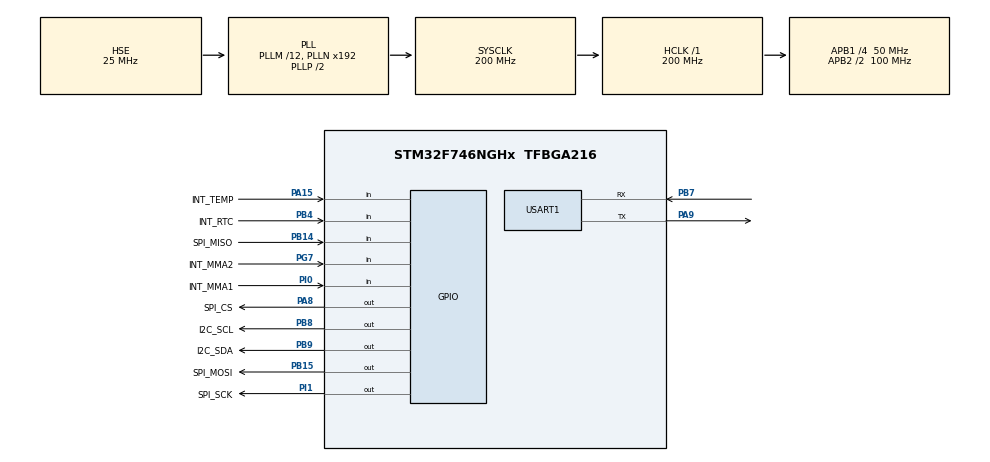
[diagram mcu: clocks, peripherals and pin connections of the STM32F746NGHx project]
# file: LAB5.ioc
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Mcu.Family=STM32F7
Mcu.Name=STM32F746NGHx
Mcu.Package=TFBGA216
NVIC.PriorityGroup=NVIC_PRIORITYGROUP_4
NVIC.TIM1_UP_TIM10_IRQn=true\:15\:0\:false\:false\:true\:false\:true
NVIC.TimeBase=TIM1_UP_TIM10_IRQn
NVIC.TimeBaseIP=TIM1
PA15.GPIO_Label=INT_TEMP
PA15.Signal=GPIO_Input
PA8.GPIO_Label=SPI_CS
PA8.Signal=GPIO_Output
PA9.Mode=Asynchronous
PA9.Signal=USART1_TX
PB14.GPIO_Label=SPI_MISO
PB14.Signal=GPIO_Input
PB15.GPIO_Label=SPI_MOSI
PB15.Signal=GPIO_Output
PB4.GPIO_Label=INT_RTC
PB4.Signal=GPIO_Input
PB7.Mode=Asynchronous
PB7.Signal=USART1_RX
PB8.GPIO_Label=I2C_SCL
PB8.GPIO_ModeDefaultOutputPP=GPIO_MODE_OUTPUT_OD
PB8.GPIO_PuPd=GPIO_PULLUP
PB8.Signal=GPIO_Output
PB9.GPIO_Label=I2C_SDA
PB9.GPIO_ModeDefaultOutputPP=GPIO_MODE_OUTPUT_OD
PB9.GPIO_PuPd=GPIO_PULLUP
PB9.Signal=GPIO_Output
PC14/OSC32_IN.Mode=LSE-External-Oscillator
PC14/OSC32_IN.Signal=RCC_OSC32_IN
PC15/OSC32_OUT.Mode=LSE-External-Oscillator
PC15/OSC32_OUT.Signal=RCC_OSC32_OUT
PG7.GPIO_Label=INT_MMA2
PG7.Signal=GPIO_Input
PH0/OSC_IN.Mode=HSE-External-Oscillator
PH0/OSC_IN.Signal=RCC_OSC_IN
PH1/OSC_OUT.Mode=HSE-External-Oscillator
PH1/OSC_OUT.Signal=RCC_OSC_OUT
PI0.GPIO_Label=INT_MMA1
PI0.Signal=GPIO_Input
PI1.GPIO_Label=SPI_SCK
PI1.Signal=GPIO_Output
ProjectManager.HeapSize=0x200
ProjectManager.StackSize=0x400
ProjectManager.TargetToolchain=STM32CubeIDE
RCC.AHBFreq_Value=200000000
RCC.APB1CLKDivider=RCC_HCLK_DIV4
RCC.APB1Freq_Value=50000000
RCC.APB1TimFreq_Value=100000000
RCC.APB2CLKDivider=RCC_HCLK_DIV2
RCC.APB2Freq_Value=100000000
RCC.APB2TimFreq_Value=200000000
RCC.CortexFreq_Value=200000000
RCC.HCLKFreq_Value=200000000
RCC.HSE_VALUE=25000000
RCC.HSI_VALUE=16000000
RCC.PLLM=12
RCC.PLLSourceVirtual=RCC_PLLSOURCE_HSE
RCC.SYSCLKFreq_VALUE=200000000
RCC.SYSCLKSource=RCC_SYSCLKSOURCE_PLLCLK
RCC.USBFreq_Value=200000000
RCC.VCOOutputFreq_Value=400000000
USART1.VirtualMode-Asynchronous=VM_ASYNC
VP_SYS_VS_tim1.Mode=TIM1
board=STM32F746G-DISCO

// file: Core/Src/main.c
/* USER CODE BEGIN Header */
/**
 ******************************************************************************
 * @file           : main.c
 * @brief          : Main program body
 ******************************************************************************
 * @attention
 *
 * <h2><center>&copy; Copyright (c) 2023 STMicroelectronics.
 * All rights reserved.</center></h2>
 *
 * This software component is licensed by ST under BSD 3-Clause license,
 * the "License"; You may not use this file except in compliance with the
 * License. You may obtain a copy of the License at:
 *                        opensource.org/licenses/BSD-3-Clause
 *
 ******************************************************************************
 */
/* USER CODE END Header */
#include "main.h"

UART_HandleTypeDef huart1;

void SystemClock_Config(void);
static void MX_GPIO_Init(void);
static void MX_USART1_UART_Init(void);

/* USER CODE BEGIN 0 */
void initI2C(void);
//I2C_start zal de start conditie op de bus plaatsen en kan ook gebruikt worden voor een "repeated start".
//Een start bit is als men de data lijn laag maakt als de kloklijn hoog is.
void I2C_start(void);

//I2C_stop zal de stop conditie op de bus plaatsen.
//Een stop bit is als men de data lijn hoog maakt als de kloklijn hoog is.
void I2C_stop(void);

//I2C_write zal 1 byte op de I2C bus plaatsen. Deze functie kan ook gebruikt worden om een slaveadres op de bus te plaatsen.
//De functie zal ook de ack binnen lezen en teruggeven (bij geldige ack op de bus geeft deze functie 0 terug)
uint8_t I2C_write(uint8_t data);

//I2C_read zal 1 byte van de I2C bus lezen en al dan niet een ack of een nack terug sturen
//afhankelijk van het argument dat je meegeeft. (ack is 0, nack is 1)
uint8_t I2C_read(uint8_t ack);

//I2C_readMem zal eerst de slave adreseren dan het register adres op de bus schrijven en na een repeated start
//het register lezen. De functie returned het aantal gelezen bytes.
uint8_t I2C_readMem(uint8_t slaveAdres, uint8_t memAdres, uint8_t * buffer, uint8_t byteCount);

uint32_t delay1us = 10000; //20
void SysTickDelayCount(uint32_t);
uint8_t reverse(uint8_t);

#include <stdio.h>

#include <errno.h>
#include <sys/stat.h>
#include <sys/times.h>
#include <sys/unistd.h>
int _write(int file, char *ptr, int len) {
	HAL_StatusTypeDef xStatus;
	switch (file) {
	case STDOUT_FILENO: /*stdout*/
		xStatus = HAL_UART_Transmit(&huart1, (uint8_t*)ptr, len, HAL_MAX_DELAY);
		if (xStatus != HAL_OK) {
			errno = EIO;
			return -1;
		}
		break;
	case STDERR_FILENO: /* stderr */
		xStatus = HAL_UART_Transmit(&huart1, (uint8_t*)ptr, len, HAL_MAX_DELAY);
		if (xStatus != HAL_OK) {
			errno = EIO;
			return -1;
		}
		break;
	default:
		errno = EBADF;
		return -1;
	}
	return len;
}

/* USER CODE END 0 */

int main(void)
{

	/* MCU Configuration--------------------------------------------------------*/

	/* Reset of all peripherals, Initializes the Flash interface and the Systick. */
	HAL_Init();

	/* Configure the system clock */
	SystemClock_Config();

	/* Initialize all configured peripherals */
	MX_GPIO_Init();
	MX_USART1_UART_Init();
	/* USER CODE BEGIN 2 */

	uint8_t	slaveAdres = 0b00111010;

	uint8_t	whoAmI = 0x0D;
	uint8_t OUT_X_MSB = 0x01;
	uint8_t OUT_X_LSB = 0x02;
	uint8_t OUT_Y_MSB = 0x03;
	uint8_t OUT_Y_LSB = 0x04;
	uint8_t OUT_Z_MSB = 0x05;
	uint8_t OUT_Z_LSB = 0x06;

	uint8_t	byteCount = 4;
	uint8_t *buffer;

	uint8_t input = 0x00;
	uint16_t accelX = 0x0000;
	uint16_t accelY = 0x0000;
	uint16_t accelZ = 0x0000;

	initI2C();

	/* USER CODE END 2 */

	/* Infinite loop */
	while (1)
	{

		/* USER CODE BEGIN 3 */

		//input = I2C_readMem(slaveAdres, whoAmI, buffer, byteCount);

		//printf("%d\n\r", input);

		//HAL_Delay(1);

		input = I2C_readMem(slaveAdres, OUT_X_MSB, buffer, byteCount);
		accelX = input;
		accelX = (accelX << 2);
		input = I2C_readMem(slaveAdres, OUT_X_LSB, buffer, byteCount);
		input &= 0b11000000;
		input = (input >> 6);
		accelX |= input;
		printf("X = %d\n\r", accelX);

		input = I2C_readMem(slaveAdres, OUT_Y_MSB, buffer, byteCount);
		accelY = input;
		accelY = (accelY << 2);
		input = I2C_readMem(slaveAdres, OUT_Y_LSB, buffer, byteCount);
		input &= 0b11000000;
		input = (input >> 6);
		accelY |= input;
		printf("Y = %d\n\r", accelY);

		input = I2C_readMem(slaveAdres, OUT_Z_MSB, buffer, byteCount);
		accelZ = input;
		accelZ = (accelZ << 2);
		input = I2C_readMem(slaveAdres, OUT_Z_LSB, buffer, byteCount);
		input &= 0b11000000;
		input = (input >> 6);
		accelZ |= input;
		printf("Z = %d\n\n\r", accelZ);

		printf("----------------------------------------\n\r");

		HAL_Delay(1);

	}
	/* USER CODE END 3 */
}

void SystemClock_Config(void)
{
	RCC_OscInitTypeDef RCC_OscInitStruct = {0};
	RCC_ClkInitTypeDef RCC_ClkInitStruct = {0};
	RCC_PeriphCLKInitTypeDef PeriphClkInitStruct = {0};

	/** Configure LSE Drive Capability
	 */
	HAL_PWR_EnableBkUpAccess();
	/** Configure the main internal regulator output voltage
	 */
	__HAL_RCC_PWR_CLK_ENABLE();
	__HAL_PWR_VOLTAGESCALING_CONFIG(PWR_REGULATOR_VOLTAGE_SCALE1);
	/** Initializes the RCC Oscillators according to the specified parameters
	 * in the RCC_OscInitTypeDef structure.
	 */
	RCC_OscInitStruct.OscillatorType = RCC_OSCILLATORTYPE_HSE;
	RCC_OscInitStruct.HSEState = RCC_HSE_ON;
	RCC_OscInitStruct.PLL.PLLState = RCC_PLL_ON;
	RCC_OscInitStruct.PLL.PLLSource = RCC_PLLSOURCE_HSE;
	RCC_OscInitStruct.PLL.PLLM = 12;
	RCC_OscInitStruct.PLL.PLLN = 192;
	RCC_OscInitStruct.PLL.PLLP = RCC_PLLP_DIV2;
	RCC_OscInitStruct.PLL.PLLQ = 2;
	if (HAL_RCC_OscConfig(&RCC_OscInitStruct) != HAL_OK)
	{
		Error_Handler();
	}
	/** Activate the Over-Drive mode
	 */
	if (HAL_PWREx_EnableOverDrive() != HAL_OK)
	{
		Error_Handler();
	}
	/** Initializes the CPU, AHB and APB buses clocks
	 */
	RCC_ClkInitStruct.ClockType = RCC_CLOCKTYPE_HCLK|RCC_CLOCKTYPE_SYSCLK
			|RCC_CLOCKTYPE_PCLK1|RCC_CLOCKTYPE_PCLK2;
	RCC_ClkInitStruct.SYSCLKSource = RCC_SYSCLKSOURCE_PLLCLK;
	RCC_ClkInitStruct.AHBCLKDivider = RCC_SYSCLK_DIV1;
	RCC_ClkInitStruct.APB1CLKDivider = RCC_HCLK_DIV4;
	RCC_ClkInitStruct.APB2CLKDivider = RCC_HCLK_DIV2;

	if (HAL_RCC_ClockConfig(&RCC_ClkInitStruct, FLASH_LATENCY_6) != HAL_OK)
	{
		Error_Handler();
	}
	PeriphClkInitStruct.PeriphClockSelection = RCC_PERIPHCLK_USART1;
	PeriphClkInitStruct.Usart1ClockSelection = RCC_USART1CLKSOURCE_PCLK2;
	if (HAL_RCCEx_PeriphCLKConfig(&PeriphClkInitStruct) != HAL_OK)
	{
		Error_Handler();
	}
}

static void MX_USART1_UART_Init(void)
{

	huart1.Instance = USART1;
	huart1.Init.BaudRate = 115200;
	huart1.Init.WordLength = UART_WORDLENGTH_8B;
	huart1.Init.StopBits = UART_STOPBITS_1;
	huart1.Init.Parity = UART_PARITY_NONE;
	huart1.Init.Mode = UART_MODE_TX_RX;
	huart1.Init.HwFlowCtl = UART_HWCONTROL_NONE;
	huart1.Init.OverSampling = UART_OVERSAMPLING_16;
	huart1.Init.OneBitSampling = UART_ONE_BIT_SAMPLE_DISABLE;
	huart1.AdvancedInit.AdvFeatureInit = UART_ADVFEATURE_NO_INIT;
	if (HAL_UART_Init(&huart1) != HAL_OK)
	{
		Error_Handler();
	}

}

static void MX_GPIO_Init(void)
{
	GPIO_InitTypeDef GPIO_InitStruct = {0};

	/* GPIO Ports Clock Enable */
	__HAL_RCC_GPIOB_CLK_ENABLE();
	__HAL_RCC_GPIOA_CLK_ENABLE();
	__HAL_RCC_GPIOI_CLK_ENABLE();
	__HAL_RCC_GPIOC_CLK_ENABLE();
	__HAL_RCC_GPIOH_CLK_ENABLE();
	__HAL_RCC_GPIOG_CLK_ENABLE();

	/*Configure GPIO pin Output Level */
	HAL_GPIO_WritePin(GPIOB, I2C_SCL_Pin|I2C_SDA_Pin|SPI_MOSI_Pin, GPIO_PIN_RESET);

	/*Configure GPIO pin Output Level */
	HAL_GPIO_WritePin(SPI_SCK_GPIO_Port, SPI_SCK_Pin, GPIO_PIN_RESET);

	/*Configure GPIO pin Output Level */
	HAL_GPIO_WritePin(SPI_CS_GPIO_Port, SPI_CS_Pin, GPIO_PIN_RESET);

	/*Configure GPIO pins : I2C_SCL_Pin I2C_SDA_Pin */
	GPIO_InitStruct.Pin = I2C_SCL_Pin|I2C_SDA_Pin;
	GPIO_InitStruct.Mode = GPIO_MODE_OUTPUT_OD;
	GPIO_InitStruct.Pull = GPIO_PULLUP;
	GPIO_InitStruct.Speed = GPIO_SPEED_FREQ_LOW;
	HAL_GPIO_Init(GPIOB, &GPIO_InitStruct);

	/*Configure GPIO pins : INT_RTC_Pin SPI_MISO_Pin */
	GPIO_InitStruct.Pin = INT_RTC_Pin|SPI_MISO_Pin;
	GPIO_InitStruct.Mode = GPIO_MODE_INPUT;
	GPIO_InitStruct.Pull = GPIO_NOPULL;
	HAL_GPIO_Init(GPIOB, &GPIO_InitStruct);

	/*Configure GPIO pin : INT_TEMP_Pin */
	GPIO_InitStruct.Pin = INT_TEMP_Pin;
	GPIO_InitStruct.Mode = GPIO_MODE_INPUT;
	GPIO_InitStruct.Pull = GPIO_NOPULL;
	HAL_GPIO_Init(INT_TEMP_GPIO_Port, &GPIO_InitStruct);

	/*Configure GPIO pin : SPI_SCK_Pin */
	GPIO_InitStruct.Pin = SPI_SCK_Pin;
	GPIO_InitStruct.Mode = GPIO_MODE_OUTPUT_PP;
	GPIO_InitStruct.Pull = GPIO_NOPULL;
	GPIO_InitStruct.Speed = GPIO_SPEED_FREQ_LOW;
	HAL_GPIO_Init(SPI_SCK_GPIO_Port, &GPIO_InitStruct);

	/*Configure GPIO pin : INT_MMA1_Pin */
	GPIO_InitStruct.Pin = INT_MMA1_Pin;
	GPIO_InitStruct.Mode = GPIO_MODE_INPUT;
	GPIO_InitStruct.Pull = GPIO_NOPULL;
	HAL_GPIO_Init(INT_MMA1_GPIO_Port, &GPIO_InitStruct);

	/*Configure GPIO pin : SPI_CS_Pin */
	GPIO_InitStruct.Pin = SPI_CS_Pin;
	GPIO_InitStruct.Mode = GPIO_MODE_OUTPUT_PP;
	GPIO_InitStruct.Pull = GPIO_NOPULL;
	GPIO_InitStruct.Speed = GPIO_SPEED_FREQ_LOW;
	HAL_GPIO_Init(SPI_CS_GPIO_Port, &GPIO_InitStruct);

	/*Configure GPIO pin : INT_MMA2_Pin */
	GPIO_InitStruct.Pin = INT_MMA2_Pin;
	GPIO_InitStruct.Mode = GPIO_MODE_INPUT;
	GPIO_InitStruct.Pull = GPIO_NOPULL;
	HAL_GPIO_Init(INT_MMA2_GPIO_Port, &GPIO_InitStruct);

	/*Configure GPIO pin : SPI_MOSI_Pin */
	GPIO_InitStruct.Pin = SPI_MOSI_Pin;
	GPIO_InitStruct.Mode = GPIO_MODE_OUTPUT_PP;
	GPIO_InitStruct.Pull = GPIO_NOPULL;
	GPIO_InitStruct.Speed = GPIO_SPEED_FREQ_LOW;
	HAL_GPIO_Init(SPI_MOSI_GPIO_Port, &GPIO_InitStruct);

}

/* USER CODE BEGIN 4 */
void initI2C(void){
	HAL_GPIO_WritePin(I2C_SDA_GPIO_Port, I2C_SDA_Pin, 1);
	HAL_GPIO_WritePin(I2C_SCL_GPIO_Port, I2C_SCL_Pin, 1);
}

//I2C_start zal de start conditie op de bus plaatsen en kan ook gebruikt worden voor een "repeated start".
//Een start bit is als men de data lijn laag maakt als de kloklijn hoog is.
void I2C_start(void){
	HAL_GPIO_WritePin(I2C_SCL_GPIO_Port, I2C_SCL_Pin, 1);
	HAL_GPIO_WritePin(I2C_SDA_GPIO_Port, I2C_SDA_Pin, 1);

	HAL_GPIO_WritePin(I2C_SDA_GPIO_Port, I2C_SDA_Pin, 0);
	SysTickDelayCount(delay1us);
	HAL_GPIO_WritePin(I2C_SCL_GPIO_Port, I2C_SCL_Pin, 0);
	SysTickDelayCount(delay1us);
}

//I2C_stop zal de stop conditie op de bus plaatsen.
//Een stop bit is als men de data lijn hoog maakt als de kloklijn hoog is.
void I2C_stop(void){
	HAL_GPIO_WritePin(I2C_SDA_GPIO_Port, I2C_SDA_Pin, 0);
	HAL_GPIO_WritePin(I2C_SCL_GPIO_Port, I2C_SCL_Pin, 0);

	HAL_GPIO_WritePin(I2C_SCL_GPIO_Port, I2C_SCL_Pin, 1);
	SysTickDelayCount(delay1us);
	HAL_GPIO_WritePin(I2C_SDA_GPIO_Port, I2C_SDA_Pin, 1);
	SysTickDelayCount(delay1us);
}

//I2C_write zal 1 byte op de I2C bus plaatsen. Deze functie kan ook gebruikt worden om een slaveadres op de bus te plaatsen.
//De functie zal ook de ack binnen lezen en teruggeven (bij geldige ack op de bus geeft deze functie 0 terug)
uint8_t I2C_write(uint8_t data){
	uint8_t shift = 0x00;
	uint8_t mask = 0b00000001;
	uint8_t result = 0x00;
	uint8_t ack = 0x00;

	//send input
	shift = reverse(data);
	for(uint8_t index = 0; index < 8; index++){
		result = shift & mask;
		if(result == 0x01){
			HAL_GPIO_WritePin(I2C_SDA_GPIO_Port, I2C_SDA_Pin, 1);
		}
		else{
			HAL_GPIO_WritePin(I2C_SDA_GPIO_Port, I2C_SDA_Pin, 0);
		}

		HAL_GPIO_WritePin(I2C_SCL_GPIO_Port, I2C_SCL_Pin, 1);
		SysTickDelayCount(delay1us);
		HAL_GPIO_WritePin(I2C_SCL_GPIO_Port, I2C_SCL_Pin, 0);
		SysTickDelayCount(delay1us);

		shift = (shift >> 1);	//shift right by one
	}
	//ACK
	HAL_GPIO_WritePin(I2C_SDA_GPIO_Port, I2C_SDA_Pin, 1);

	HAL_GPIO_WritePin(I2C_SCL_GPIO_Port, I2C_SCL_Pin, 1);
	SysTickDelayCount(delay1us);

	ack = HAL_GPIO_ReadPin(I2C_SDA_GPIO_Port, I2C_SDA_Pin);

	HAL_GPIO_WritePin(I2C_SCL_GPIO_Port, I2C_SCL_Pin, 0);
	SysTickDelayCount(delay1us);

	return ack;
}

//I2C_read zal 1 byte van de I2C bus lezen en al dan niet een ack of een nack terug sturen
//afhankelijk van het argument dat je meegeeft. (ack is 0, nack is 1)
uint8_t I2C_read(uint8_t ack){
	uint8_t input = 0x00;

	for(uint8_t index = 0; index < 8; index++){
		//clk high
		HAL_GPIO_WritePin(I2C_SCL_GPIO_Port, I2C_SCL_Pin, 1);
		SysTickDelayCount(delay1us);

		//1 on SDA?
		if(HAL_GPIO_ReadPin(I2C_SDA_GPIO_Port, I2C_SDA_Pin)){
			//1
			input |= 0b00000001;
		}
		else{
			//0
			input &= 0b11111110;
		}
		//shift input reg
		input = (input << 1);

		//clk low
		HAL_GPIO_WritePin(I2C_SCL_GPIO_Port, I2C_SCL_Pin, 0);
		SysTickDelayCount(delay1us);

		//ack?d
	}
	return input;
}

//I2C_readMem zal eerst de slave adreseren dan het register adres op de bus schrijven en na een repeated start
//het register lezen. De functie returned het aantal gelezen bytes.
uint8_t I2C_readMem(uint8_t slaveAdres, uint8_t memAdres, uint8_t * buffer, uint8_t byteCount){
	uint8_t input = 0x00;
	uint8_t ack = 0x00;

	I2C_start();

	ack = I2C_write(slaveAdres);
	SysTickDelayCount(delay1us);

	ack = I2C_write(memAdres);
	SysTickDelayCount(delay1us);

	I2C_start();	//repeated start condition

	ack = I2C_write(slaveAdres+1);
	SysTickDelayCount(delay1us);

	input = I2C_read(0x00);

	I2C_stop();

	return input;
}

void SysTickDelayCount(uint32_t ulCount){
	CoreDebug->DEMCR |= CoreDebug_DEMCR_TRCENA_Msk;
	DWT->LAR = 0xC5ACCE55;
	DWT->CYCCNT = 0;
	DWT->CTRL |= DWT_CTRL_CYCCNTENA_Msk;

	while(DWT->CYCCNT < ulCount);
}

uint8_t reverse(uint8_t b) {
	b = (b & 0xF0) >> 4 | (b & 0x0F) << 4;
	b = (b & 0xCC) >> 2 | (b & 0x33) << 2;
	b = (b & 0xAA) >> 1 | (b & 0x55) << 1;
	return b;
}

/* USER CODE END 4 */

void HAL_TIM_PeriodElapsedCallback(TIM_HandleTypeDef *htim)
{
	if (htim->Instance == TIM1) {
		HAL_IncTick();
	}
}

void Error_Handler(void)
{
	__disable_irq();
	while (1)
	{
	}
}

/************************ (C) COPYRIGHT STMicroelectronics *****END OF FILE****/
